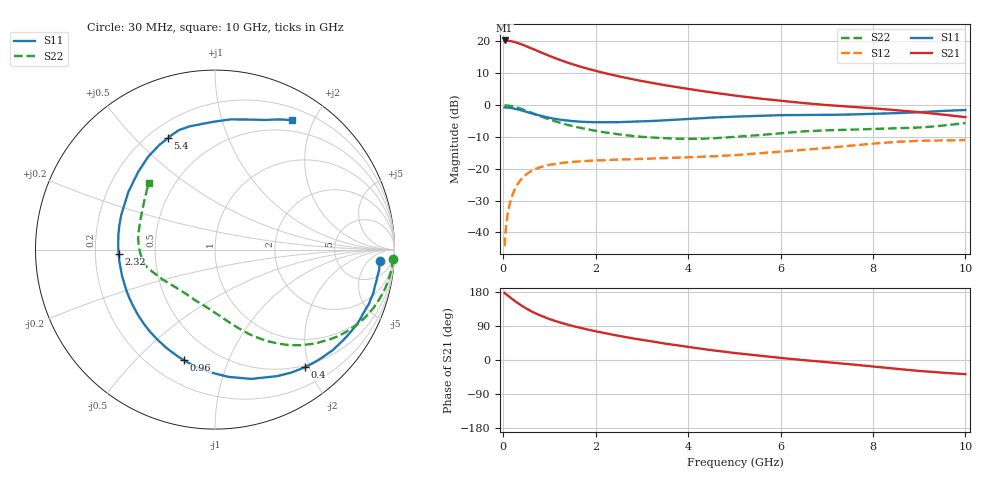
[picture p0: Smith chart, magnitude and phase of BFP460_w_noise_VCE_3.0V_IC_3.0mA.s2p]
! (c) 2016  Infineon Technologies AG, Munich
! Infineon Technologies  Discrete & RF Semiconductors
! BFP460
! VCE =  3.0 V,  IC =  3.0 mA
! Common Emitter S-Parameters:  Jan 2016
# GHz  S  MA  R  50
!  f  S11  S21  S12  S22
! GHz  MAG  ANG  MAG  ANG  MAG  ANG  MAG  ANG
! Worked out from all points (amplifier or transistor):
!   229 points, 30 MHz to 10 GHz, reference 50 ohm
!   highest |S21| = 20.3 dB at 30 MHz (marker M1)
!   |S21| within 3 dB of that: start of sweep to 694.3 MHz
!   unconditionally stable (mu >= 1): 3.555 GHz to 7.87 GHz
!   at 280 MHz: K = 0.12, MSG = 22.6 dB, |S12| = -25.6 dB
!   at 1.78 GHz: K = 0.61, MSG = 14.6 dB, |S12| = -17.6 dB
!   at 10 GHz: K = 0.93, MSG = 3.6 dB, |S12| = -11.0 dB
!   lowest NFmin = 0.71 dB at 450 MHz
!   S11 on the Smith chart (normalised r, x): 30 MHz: 14, -12; 400 MHz: 0.47, -1.93; 960 MHz: 0.34, -0.70; 2.32 GHz: 0.30, -0.02; 5.4 GHz: 0.27, +0.63; 10 GHz: 0.35, +1.70
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0.03  0.9214 -4.1  10.36 177.0  0.0061 87.4  0.9939 -2.9
0.075  0.9163 -10.5  10.33 172.3  0.015 83.6  0.9887 -6.5
0.14  0.9095 -19.5  10.2 166.1  0.0277 78.8  0.9751 -12.0
0.24  0.8806 -32.8  9.82 156.7  0.0458 71.0  0.9413 -20.1
0.32  0.8539 -42.9  9.43 149.8  0.0587 65.5  0.9057 -26.1
0.4  0.8257 -52.6  8.999 143.2  0.0701 60.5  0.8663 -31.6
0.5  0.7855 -63.8  8.424 135.8  0.0821 54.9  0.8149 -37.7
0.6  0.7484 -74.3  7.854 128.9  0.0918 50.0  0.7648 -43.2
0.8  0.6827 -92.8  6.791 117.4  0.1061 42.0  0.6724 -52.3
0.96  0.6403 -105.5  6.087 109.8  0.1138 37.4  0.6103 -57.9
1.1  0.6122 -115.8  5.546 103.8  0.119 34.0  0.5646 -62.3
1.28  0.5849 -127.4  4.965 97.1  0.124 30.5  0.5163 -67.1
1.7  0.5481 -150.5  3.958 83.8  0.1315 25.1  0.4346 -76.0
2.32  0.5371 -177.2  3.03 68.0  0.1381 20.8  0.3624 -87.4
2.8  0.5495 166.0  2.55 57.2  0.1418 18.8  0.3279 -96.9
3.4  0.5727 149.0  2.117 45.4  0.1462 17.8  0.3054 -109.1
4  0.6081 134.9  1.798 34.3  0.1512 17.4  0.2951 -122.2
5.1  0.6632 116.8  1.387 17.3  0.1656 18.4  0.3208 -144.8
5.4  0.6745 113.1  1.306 13.3  0.1719 18.6  0.3326 -149.3
6.8  0.7018 98.6  1.032 -3.5  0.2067 16.6  0.3961 -166.9
8.4  0.7435 77.2  0.846 -22.0  0.2616 8.3  0.4321 172.1
10  0.8385 59.3  0.648 -37.3  0.2824 -3.3  0.5243 134.8
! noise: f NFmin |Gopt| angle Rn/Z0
0.45  0.71  0.48  19  0.2
0.9  0.75  0.46  37  0.21
1.9  1.09  0.27  93  0.15
3.5  1.43  0.36  -162  0.1
